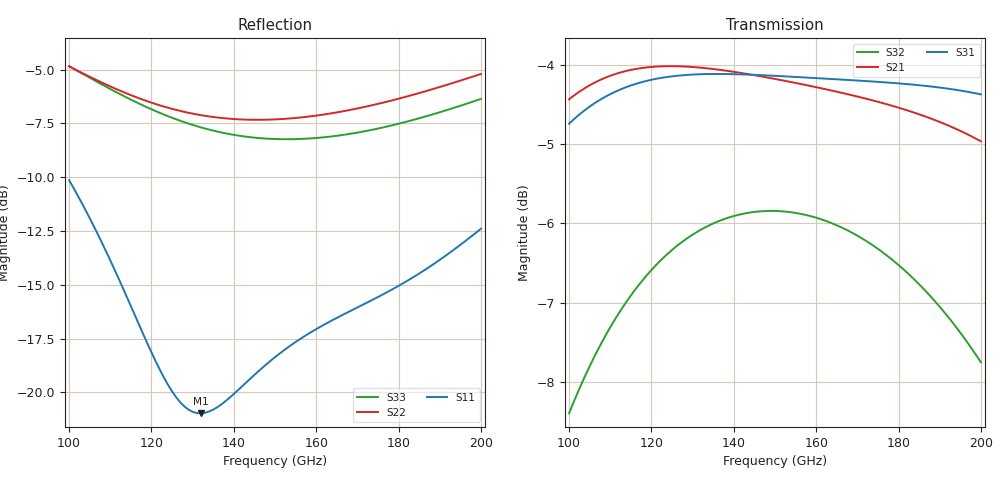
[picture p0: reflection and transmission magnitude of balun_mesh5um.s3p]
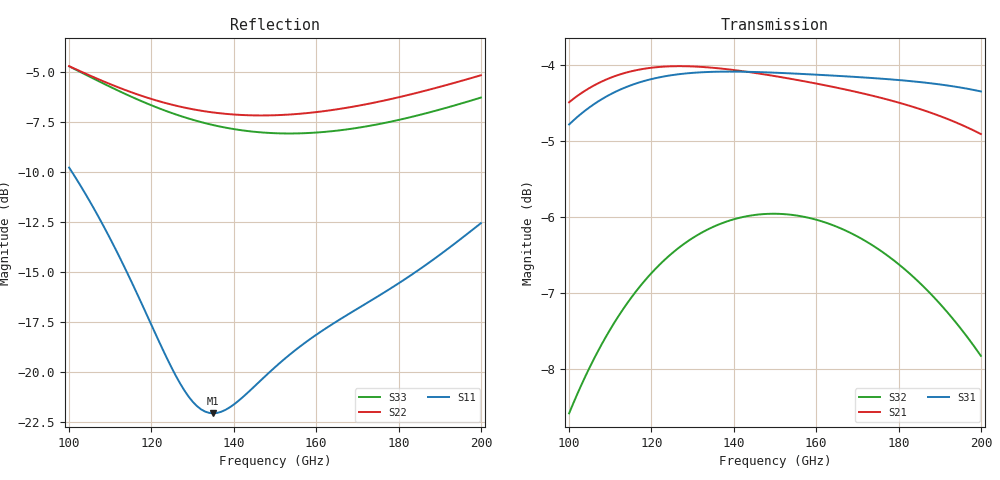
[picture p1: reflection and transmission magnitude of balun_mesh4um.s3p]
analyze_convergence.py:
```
#!/usr/bin/env python
"""Mesh convergence analysis for the D-band balun (RupokDas) study.

Reads the de-embedded Touchstone files collected in results/snp/, computes
per-point and max delta-S between successive mesh refinements for S11, S21,
S23, writes a CSV table, and renders overlay plots (magnitude + phase vs.
frequency) for S11/S21/S23 across all mesh variants.
"""
import os
import csv
import numpy as np
import skrf as rf
import matplotlib
matplotlib.use("Agg")
import matplotlib.pyplot as plt

HERE = os.path.dirname(os.path.abspath(__file__))
SNP_DIR = os.path.join(HERE, "snp")
PLOT_DIR = os.path.join(HERE, "plots")

# ordered coarse -> fine, plus AMR result compared against the finest uniform mesh
UNIFORM_SERIES = [
    ("mesh5", "5 um (uniform)", "balun_mesh5um.s3p"),
    ("mesh4", "4 um (uniform)", "balun_mesh4um.s3p"),
    ("mesh3", "3 um (uniform)", "balun_mesh3um.s3p"),
    ("mesh2", "2 um (uniform)", "balun_mesh2um.s3p"),
    ("mesh1", "1 um (uniform)", "balun_mesh1um.s3p"),
]
AMR_ENTRY = ("amr5", "AMR (5 um start, 5 it.)", "balun_amr5_final.s3p")
# order-3 alternative at the same 2 um cell size as MESH2, order 2 otherwise everywhere else
ORDER_ENTRY = ("mesh2_order3", "2 um, order 3", "balun_mesh2um_order3.s3p")

SPARAMS = [(1, 1, "S11"), (2, 1, "S21"), (2, 3, "S23")]

COLORS = ["#4c72b0", "#dd8452", "#55a868", "#c44e52", "#8172b2", "#937860"]


def load(label_key):
    key, label, fname = label_key
    path = os.path.join(SNP_DIR, fname)
    if not os.path.isfile(path):
        return None
    nw = rf.Network(path)
    nw.name = label
    return key, label, nw


def db(x):
    return 20 * np.log10(np.abs(x))


def deg(x):
    return np.angle(x, deg=True)


def max_delta_linear(nw_a, nw_b, m, n):
    """Max |S(b) - S(a)| (linear complex magnitude) over common frequencies.

    This is the standard HFSS-style "Delta S" convergence metric (also used
    by palace_summary.py for AMR iterations). Deliberately NOT a dB(b)-dB(a)
    difference: near an S-parameter null (Sxx close to 0), a tiny absolute
    error produces a huge dB swing even though the physical mismatch is
    negligible -- the linear metric stays well-behaved there.
    """
    fa, fb = nw_a.frequency.f, nw_b.frequency.f
    common = np.intersect1d(fa, fb)
    if common.size == 0:
        return None
    ia = np.searchsorted(fa, common)
    ib = np.searchsorted(fb, common)
    sa = nw_a.s[ia, m - 1, n - 1]
    sb = nw_b.s[ib, m - 1, n - 1]
    return float(np.max(np.abs(sb - sa)))


def band_edge_delta_db(nw_a, nw_b, m, n):
    """|S_dB(b)-S_dB(a)| at the lowest and highest common frequency."""
    fa, fb = nw_a.frequency.f, nw_b.frequency.f
    common = np.intersect1d(fa, fb)
    if common.size == 0:
        return None, None
    lo, hi = common[0], common[-1]
    ia_lo, ib_lo = np.searchsorted(fa, lo), np.searchsorted(fb, lo)
    ia_hi, ib_hi = np.searchsorted(fa, hi), np.searchsorted(fb, hi)
    d_lo = abs(db(nw_b.s[ib_lo, m - 1, n - 1]) - db(nw_a.s[ia_lo, m - 1, n - 1]))
    d_hi = abs(db(nw_b.s[ib_hi, m - 1, n - 1]) - db(nw_a.s[ia_hi, m - 1, n - 1]))
    return float(d_lo), float(d_hi)


DESIGN_FREQ_HZ = 155.0e9  # center of this balun's 140-170 GHz target band


def delta_db_at_freq(nw_a, nw_b, m, n, freq_hz):
    """|S_dB(b)-S_dB(a)| at the frequency point nearest freq_hz."""
    fa, fb = nw_a.frequency.f, nw_b.frequency.f
    ia = int(np.argmin(np.abs(fa - freq_hz)))
    ib = int(np.argmin(np.abs(fb - freq_hz)))
    if abs(fa[ia] - freq_hz) > 0.5e9 or abs(fb[ib] - freq_hz) > 0.5e9:
        return None
    return float(abs(db(nw_b.s[ib, m - 1, n - 1]) - db(nw_a.s[ia, m - 1, n - 1])))


def main():
    loaded = []
    for entry in UNIFORM_SERIES:
        result = load(entry)
        if result:
            loaded.append(result)
        else:
            print(f"WARNING: missing {entry[2]}, skipping")

    amr_result = load(AMR_ENTRY)
    order_result = load(ORDER_ENTRY)

    if len(loaded) < 2:
        print("Need at least two uniform-mesh results to compute deltas; exiting.")
        return

    def fmt(x):
        return f"{x:.4f}" if x is not None else "n/a"

    # ---------------- delta-S table across successive uniform refinements ----------------
    # comparisons in refinement order, one block per S-parameter
    comparisons = [(loaded[i - 1], loaded[i]) for i in range(1, len(loaded))]
    if amr_result:
        comparisons.append((loaded[-1], amr_result))
    if order_result:
        # isolate the order effect: same 2 um cell size, order 2 vs order 3
        mesh2_result = next((entry for entry in loaded if entry[0] == "mesh2"), None)
        if mesh2_result:
            comparisons.append((mesh2_result, order_result))

    csv_path = os.path.join(HERE, "delta_S_table.csv")
    with open(csv_path, "w", newline="") as f:
        writer = csv.writer(f)
        writer.writerow([
            "Param", "Comparison", "Max|dS| (linear)",
            "|dS_dB| at 100 GHz", "|dS_dB| at 155 GHz (design freq.)", "|dS_dB| at 200 GHz"
        ])
        for m, n, pname in SPARAMS:
            for (key_a, label_a, nw_a), (key_b, label_b, nw_b) in comparisons:
                comparison = f"{label_a} -> {label_b}"
                max_d = max_delta_linear(nw_a, nw_b, m, n)
                d_lo, d_hi = band_edge_delta_db(nw_a, nw_b, m, n)
                d_design = delta_db_at_freq(nw_a, nw_b, m, n, DESIGN_FREQ_HZ)
                writer.writerow([pname, comparison, fmt(max_d), fmt(d_lo), fmt(d_design), fmt(d_hi)])
    print(f"Wrote delta-S table: {csv_path}")

    # ---------------- delta-S table: every mesh vs. finest uniform mesh (1um) ----------------
    ref_key, ref_label, ref_nw = loaded[-1]
    vs_finest = [(key, label, nw) for key, label, nw in loaded[:-1]]
    if amr_result:
        vs_finest.append(amr_result)
    if order_result:
        vs_finest.append(order_result)

    csv_path_ref = os.path.join(HERE, "delta_S_vs_finest.csv")
    with open(csv_path_ref, "w", newline="") as f:
        writer = csv.writer(f)
        writer.writerow([
            "Param", "Mesh", f"Max|dS| vs. {ref_label} (linear)",
            "|dS_dB| at 100 GHz", "|dS_dB| at 155 GHz (design freq.)", "|dS_dB| at 200 GHz"
        ])
        for m, n, pname in SPARAMS:
            for key, label, nw in vs_finest:
                max_d = max_delta_linear(nw, ref_nw, m, n)
                d_lo, d_hi = band_edge_delta_db(nw, ref_nw, m, n)
                d_design = delta_db_at_freq(nw, ref_nw, m, n, DESIGN_FREQ_HZ)
                writer.writerow([pname, label, fmt(max_d), fmt(d_lo), fmt(d_design), fmt(d_hi)])
    print(f"Wrote delta-S-vs-finest table: {csv_path_ref}")

    # ---------------- overlay plots: mag (dB) + phase per S-param ----------------
    os.makedirs(PLOT_DIR, exist_ok=True)
    all_series = list(loaded)
    if amr_result:
        all_series.append(amr_result)
    if order_result:
        all_series.append(order_result)

    for m, n, pname in SPARAMS:
        fig, (ax_mag, ax_phase) = plt.subplots(2, 1, figsize=(8, 7), sharex=True)
        for idx, (key, label, nw) in enumerate(all_series):
            color = COLORS[idx % len(COLORS)]
            style = "--" if key == "amr5" else (":" if key == "mesh2_order3" else "-")
            freq_ghz = nw.frequency.f / 1e9
            ax_mag.plot(freq_ghz, db(nw.s[:, m - 1, n - 1]), color=color, linestyle=style, label=label)
            ax_phase.plot(freq_ghz, deg(nw.s[:, m - 1, n - 1]), color=color, linestyle=style, label=label)
        ax_mag.set_ylabel(f"|{pname}| (dB)")
        ax_mag.grid(True, alpha=0.3)
        ax_mag.legend(fontsize=8)
        ax_mag.set_title(f"{pname} vs. mesh refinement")
        ax_phase.set_xlabel("Frequency (GHz)")
        ax_phase.set_ylabel(f"arg({pname}) (deg)")
        ax_phase.grid(True, alpha=0.3)
        fig.tight_layout()
        out_path = os.path.join(PLOT_DIR, f"{pname.lower()}_convergence.png")
        fig.savefig(out_path, dpi=150)
        plt.close(fig)
        print(f"Wrote plot: {out_path}")


if __name__ == "__main__":
    main()
```
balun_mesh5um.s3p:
! Created with skrf 2.1.0 (http://scikit-rf.org).
# GHz S DB R 50.0
! Port[1] = P1
! Port[2] = P2
! Port[3] = P3
!freq dBS11 angS11 dBS12 angS12 dBS13 angS13
! dBS21 angS21 dBS22 angS22 dBS23 angS23
! dBS31 angS31 dBS32 angS32 dBS33 angS33
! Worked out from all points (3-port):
!   101 points, 100 GHz to 200 GHz, reference 50 ohm
!   strongest paths, dB at 100 GHz, 125 GHz, 150 GHz, 175 GHz, 200 GHz:
!     S31: -4.7, -4.1, -4.1, -4.2, -4.4
!     S21: -4.4, -4.0, -4.2, -4.5, -5.0
!     S32: -8.4, -6.3, -5.8, -6.3, -7.7
!   lowest |S11| = -21.0 dB at 132 GHz (marker M1), VSWR 1.20, Z = 41.9 + j1.67 ohm
!   |S11| at or under -10 dB: start of sweep to end of sweep
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100  -10.14 132.3  -4.43 -16.0  -4.74 159.5
     -4.43 -16.0  -4.85 60.0  -8.39 88.9
     -4.74 159.5  -8.39 88.9  -4.84 48.8
124  -19.64 143.4  -4.02 -52.0  -4.15 121.0
     -4.02 -52.0  -6.77 40.8  -6.38 52.5
     -4.15 121.0  -6.38 52.5  -7.16 25.6
132  -20.97 167.2  -4.04 -62.6  -4.12 109.6
     -4.04 -62.6  -7.12 35.3  -6.08 41.6
     -4.12 109.6  -6.08 41.6  -7.68 19.2
164  -16.64 -157.2  -4.33 -101.4  -4.18 68.1
     -4.33 -101.4  -7.02 11.2  -6.00 1.6
     -4.18 68.1  -6.00 1.6  -8.10 -5.3
200  -12.40 -150.8  -4.96 -144.2  -4.37 23.1
     -4.96 -144.2  -5.21 -23.0  -7.75 -40.7
     -4.37 23.1  -7.75 -40.7  -6.36 -37.5
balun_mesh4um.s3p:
! Created with skrf 2.1.0 (http://scikit-rf.org).
# GHz S DB R 50.0
! Port[1] = P1
! Port[2] = P2
! Port[3] = P3
!freq dBS11 angS11 dBS12 angS12 dBS13 angS13
! dBS21 angS21 dBS22 angS22 dBS23 angS23
! dBS31 angS31 dBS32 angS32 dBS33 angS33
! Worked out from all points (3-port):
!   101 points, 100 GHz to 200 GHz, reference 50 ohm
!   strongest paths, dB at 100 GHz, 125 GHz, 150 GHz, 175 GHz, 200 GHz:
!     S31: -4.8, -4.1, -4.1, -4.2, -4.4
!     S21: -4.5, -4.0, -4.2, -4.4, -4.9
!     S32: -8.6, -6.5, -6.0, -6.4, -7.8
!   lowest |S11| = -22.0 dB at 135 GHz (marker M1), VSWR 1.17, Z = 42.8 + j1.56 ohm
!   |S11| at or under -10 dB: 100.8 GHz to end of sweep
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100  -9.76 131.8  -4.49 -15.1  -4.79 160.5
     -4.49 -15.1  -4.69 59.9  -8.58 89.5
     -4.79 160.5  -8.58 89.5  -4.69 48.7
127  -20.57 141.2  -4.02 -55.3  -4.12 117.5
     -4.02 -55.3  -6.71 38.2  -6.39 49.0
     -4.12 117.5  -6.39 49.0  -7.17 22.6
135  -22.05 166.8  -4.04 -65.8  -4.09 106.3
     -4.04 -65.8  -7.00 32.7  -6.13 38.2
     -4.09 106.3  -6.13 38.2  -7.63 16.4
165  -17.45 -153.6  -4.30 -102.1  -4.15 67.5
     -4.30 -102.1  -6.85 10.1  -6.13 1.0
     -4.15 67.5  -6.13 1.0  -7.91 -6.6
200  -12.54 -147.6  -4.91 -143.8  -4.35 23.6
     -4.91 -143.8  -5.14 -22.7  -7.82 -40.1
     -4.35 23.6  -7.82 -40.1  -6.26 -37.5
